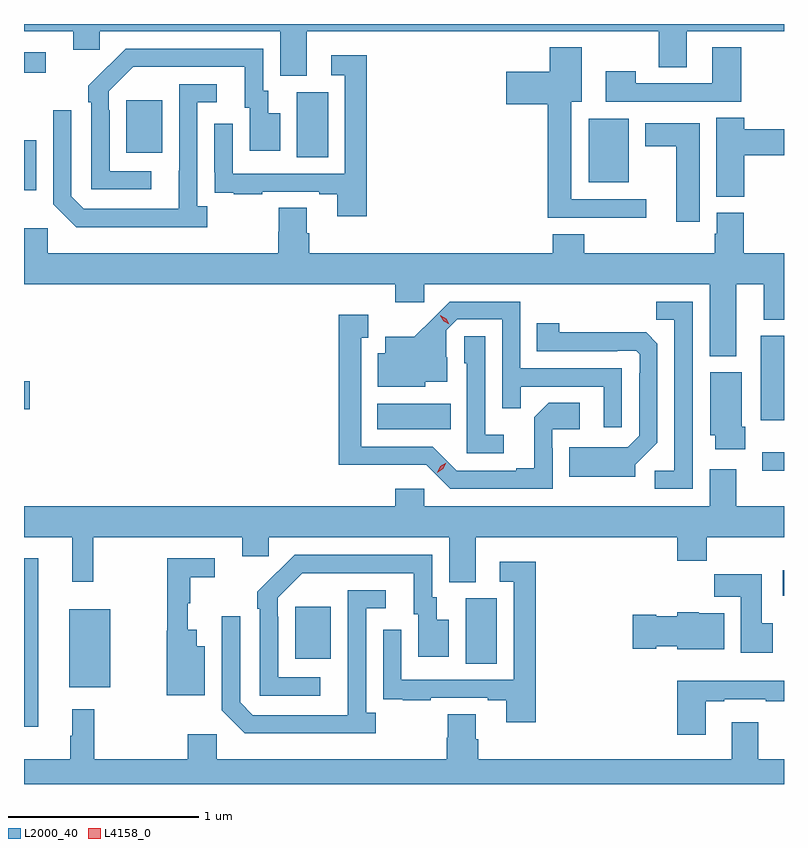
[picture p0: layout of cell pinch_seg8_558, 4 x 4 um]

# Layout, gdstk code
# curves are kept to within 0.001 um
import gdstk
lib = gdstk.Library(unit=1e-6, precision=1e-09)
def R(c, l, rs):  # rectangles x0, y0, x1, y1
    for r in rs: c.add(gdstk.rectangle(r[:2], r[2:], *l))
def P(c, l, *ps):  # polygons
    for p in ps: c.add(gdstk.Polygon(p, *l))
L2000_40 = (2000, 40)
L4158_0 = (4158, 0)

pinch_seg8_558 = lib.new_cell('pinch_seg8_558')
R(pinch_seg8_558, L2000_40, [(158.376,1100.852,158.452,1101.739), (158.615,1101.059,158.83,1101.469), (160.7,1101.184,160.864,1101.528), (159.803,1101.209,159.991,1101.484), (162.369,1101.542,162.376,1101.676), (162.261,1102.2,162.376,1102.296), (160.235,1102.418,160.622,1102.552), (162.254,1102.464,162.376,1102.908), (158.376,1102.523,158.407,1102.67), (158.376,1103.674,158.44,1103.938), (161.348,1103.717,161.56,1104.052), (159.812,1103.848,159.976,1104.192), (158.915,1103.873,159.103,1104.148), (158.376,1104.294,158.491,1104.402)])
P(pinch_seg8_558, L2000_40, [(159.865,1104.512),(161.716,1104.512),(161.716,1104.322),(161.863,1104.322),(161.863,1104.512),(162.376,1104.512),(162.376,1104.55),(158.376,1104.55),(158.376,1104.512),(158.636,1104.512),(158.636,1104.414),(158.775,1104.414),(158.775,1104.512),(159.725,1104.512),(159.725,1104.277),(159.865,1104.277)],
  [(161.65,1103.628),(161.257,1103.628),(161.257,1104.14),(161.311,1104.14),(161.311,1104.427),(161.144,1104.427),(161.144,1104.298),(160.914,1104.298),(160.914,1104.128),(161.132,1104.128),(161.132,1103.531),(161.65,1103.531)],
  [(162.152,1104.427),(161.999,1104.427),(161.999,1104.237),(161.595,1104.237),(161.595,1104.301),(161.439,1104.301),(161.439,1104.141),(162.152,1104.141)],
  [(159.046,1103.775),(158.826,1103.775),(158.826,1104.095),(158.823,1104.095),(158.823,1104.195),(158.952,1104.324),(159.539,1104.324),(159.539,1104.108),(159.563,1104.108),(159.563,1103.883),(159.724,1103.883),(159.724,1104.079),(159.661,1104.079),(159.661,1104.198),(159.636,1104.198),(159.636,1104.42),(158.912,1104.42),(158.715,1104.225),(158.715,1104.137),(158.73,1104.137),(158.73,1103.679),(159.046,1103.679)],
  [(160.181,1104.385),(159.993,1104.385),(159.993,1104.279),(160.065,1104.279),(160.065,1103.763),(159.474,1103.763),(159.474,1104.025),(159.378,1104.025),(159.378,1103.77),(159.379,1103.77),(159.379,1103.661),(159.481,1103.661),(159.481,1103.655),(159.629,1103.655),(159.629,1103.667),(159.929,1103.667),(159.929,1103.655),(160.025,1103.655),(160.025,1103.538),(160.181,1103.538)],
  [(159.34,1103.59),(159.288,1103.59),(159.288,1104.138),(159.391,1104.138),(159.391,1104.234),(159.192,1104.234),(159.191,1103.577),(158.691,1103.577),(158.625,1103.643),(158.625,1104.097),(158.529,1104.097),(158.529,1103.601),(158.65,1103.48),(159.34,1103.48)],
  [(162.167,1103.86),(162.376,1103.86),(162.376,1103.996),(162.167,1103.996),(162.167,1104.056),(162.02,1104.056),(162.02,1103.641),(162.167,1103.641)],
  [(161.932,1104.028),(161.645,1104.028),(161.645,1103.906),(161.81,1103.906),(161.81,1103.508),(161.932,1103.508)],
  [(162.124,1103.18),(162.269,1103.18),(162.269,1102.993),(162.376,1102.993),(162.376,1103.344),(162.164,1103.344),(162.164,1103.556),(162.023,1103.556),(162.023,1103.445),(162.011,1103.445),(162.011,1103.344),(161.324,1103.344),(161.324,1103.443),(161.159,1103.443),(161.159,1103.344),(159.878,1103.344),(159.878,1103.45),(159.865,1103.45),(159.865,1103.582),(159.718,1103.582),(159.718,1103.457),(159.713,1103.457),(159.713,1103.344),(158.502,1103.344),(158.502,1103.476),(158.376,1103.476),(158.376,1103.18),(160.331,1103.18),(160.331,1103.085),(160.482,1103.085),(160.482,1103.18),(161.984,1103.18),(161.984,1102.802),(162.124,1102.802)],
  [(161.523,1102.737),(160.989,1102.737),(160.989,1103.088),(160.616,1103.088),(160.429,1102.903),(160.277,1102.903),(160.277,1102.816),(160.238,1102.816),(160.238,1102.64),(160.488,1102.64),(160.488,1102.667),(160.603,1102.667),(160.603,1102.796),(160.599,1102.796),(160.599,1102.938),(160.656,1102.995),(160.893,1102.995),(160.893,1102.528),(160.991,1102.528),(160.991,1102.641),(161.427,1102.641),(161.427,1102.428),(161.523,1102.428)],
  [(161.895,1103.088),(161.704,1103.088),(161.704,1102.993),(161.799,1102.993),(161.799,1102.2),(161.697,1102.2),(161.697,1102.104),(161.895,1102.104)],
  [(161.16,1102.316),(161.157,1102.316),(161.157,1102.416),(161.302,1102.416),(161.302,1102.556),(161.137,1102.556),(161.061,1102.48),(161.061,1102.213),(160.967,1102.213),(160.967,1102.2),(160.653,1102.2),(160.527,1102.326),(160.15,1102.326),(160.15,1102.899),(160.189,1102.899),(160.189,1103.02),(160.032,1103.02),(160.032,1102.229),(160.494,1102.23),(160.62,1102.104),(161.16,1102.104)],
  [(161.593,1102.23),(161.709,1102.346),(161.709,1102.868),(161.65,1102.927),(161.193,1102.928),(161.193,1102.975),(161.074,1102.975),(161.074,1102.827),(161.498,1102.827),(161.498,1102.83),(161.598,1102.83),(161.616,1102.812),(161.616,1102.712),(161.613,1102.712),(161.613,1102.383),(161.553,1102.323),(161.245,1102.323),(161.245,1102.166),(161.593,1102.166)],
  [(160.9,1102.387),(160.803,1102.387),(160.803,1102.907),(160.692,1102.907),(160.692,1102.764),(160.707,1102.764),(160.707,1102.29),(160.9,1102.29)],
  [(162.172,1102.431),(162.154,1102.431),(162.154,1102.717),(161.987,1102.717),(161.987,1102.386),(162.014,1102.386),(162.014,1102.313),(162.172,1102.313)],
  [(160.753,1101.848),(161.813,1101.848),(161.813,1101.724),(161.969,1101.724),(161.969,1101.848),(162.376,1101.848),(162.376,1102.012),(162.124,1102.012),(162.124,1102.207),(161.984,1102.207),(161.984,1102.012),(160.482,1102.012),(160.482,1102.105),(160.331,1102.105),(160.331,1102.012),(158.376,1102.012),(158.376,1101.848),(158.63,1101.848),(158.63,1101.615),(158.74,1101.615),(158.74,1101.848),(159.524,1101.848),(159.524,1101.75),(159.663,1101.75),(159.663,1101.848),(160.613,1101.848),(160.613,1101.613),(160.753,1101.613)],
  [(159.934,1101.111),(159.714,1101.111),(159.714,1101.431),(159.711,1101.431),(159.711,1101.531),(159.84,1101.66),(160.427,1101.66),(160.427,1101.444),(160.451,1101.444),(160.451,1101.219),(160.612,1101.219),(160.612,1101.415),(160.549,1101.415),(160.549,1101.534),(160.524,1101.534),(160.524,1101.756),(159.8,1101.756),(159.603,1101.561),(159.603,1101.473),(159.618,1101.473),(159.618,1101.015),(159.934,1101.015)],
  [(159.328,1101.274),(159.286,1101.274),(159.286,1101.361),(159.239,1101.361),(159.239,1101.501),(159.25,1101.501),(159.25,1101.637),(159.379,1101.637),(159.379,1101.738),(159.129,1101.738),(159.129,1101.357),(159.128,1101.357),(159.128,1101.017),(159.328,1101.017)],
  [(161.069,1101.721),(160.881,1101.721),(160.881,1101.615),(160.953,1101.615),(160.953,1101.099),(160.362,1101.099),(160.362,1101.361),(160.266,1101.361),(160.266,1101.106),(160.267,1101.106),(160.267,1100.997),(160.369,1100.997),(160.369,1100.991),(160.517,1100.991),(160.517,1101.003),(160.817,1101.003),(160.817,1100.991),(160.913,1100.991),(160.913,1100.874),(161.069,1100.874)],
  [(162.316,1101.396),(162.259,1101.396),(162.259,1101.655),(162.01,1101.655),(162.01,1101.536),(162.149,1101.536),(162.149,1101.24),(162.316,1101.24)],
  [(160.228,1100.926),(160.176,1100.926),(160.176,1101.474),(160.279,1101.474),(160.279,1101.57),(160.08,1101.57),(160.079,1100.913),(159.579,1100.913),(159.513,1100.979),(159.513,1101.433),(159.417,1101.433),(159.417,1100.937),(159.538,1100.816),(160.228,1100.816)],
  [(162.061,1101.448),(161.928,1101.448),(161.928,1101.454),(161.814,1101.454),(161.814,1101.433),(161.703,1101.433),(161.703,1101.441),(161.58,1101.441),(161.58,1101.263),(161.703,1101.263),(161.703,1101.275),(161.814,1101.275),(161.814,1101.26),(162.061,1101.26)],
  [(161.965,1100.985),(162.061,1100.985),(162.061,1100.997),(162.281,1100.997),(162.281,1100.985),(162.376,1100.985),(162.376,1101.094),(161.813,1101.094),(161.813,1100.808),(161.965,1100.808)],
  [(160.753,1100.786),(160.753,1100.918),(160.606,1100.918),(160.606,1100.793),(160.601,1100.793),(160.601,1100.68),(159.39,1100.68),(159.39,1100.812),(159.239,1100.812),(159.239,1100.68),(158.747,1100.68),(158.747,1100.944),(158.63,1100.944),(158.63,1100.804),(158.619,1100.804),(158.619,1100.68),(158.376,1100.68),(158.376,1100.55),(162.376,1100.55),(162.376,1100.68),(162.241,1100.68),(162.241,1100.875),(162.101,1100.875),(162.101,1100.68),(160.766,1100.68),(160.766,1100.786)])
P(pinch_seg8_558, L4158_0, [(160.614,1102.97),(160.584,1102.986),(160.567,1103.015),(160.567,1103.016),(160.567,1103.016),(160.598,1103),(160.615,1102.97),(160.615,1102.97)],
  [(160.55,1102.188),(160.55,1102.189),(160.567,1102.222),(160.598,1102.241),(160.599,1102.241),(160.599,1102.241),(160.582,1102.208),(160.55,1102.188)])

lib.write_gds('pinch_seg8_558.gds')
